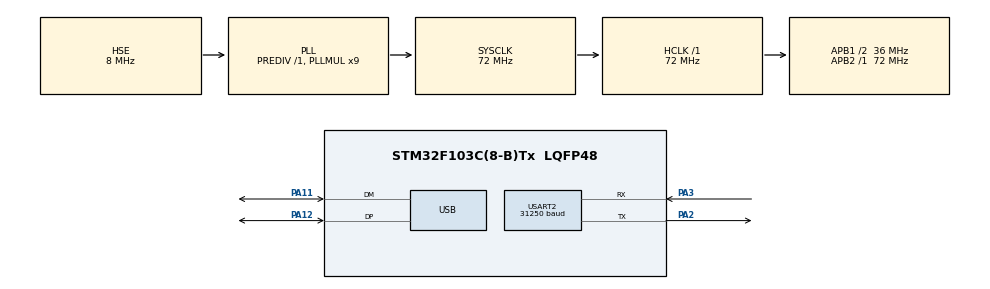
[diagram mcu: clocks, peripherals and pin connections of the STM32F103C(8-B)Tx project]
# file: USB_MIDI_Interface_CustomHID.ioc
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Dma.Request0=USART2_RX
Dma.Request1=USART2_TX
Dma.USART2_RX.0.Direction=DMA_PERIPH_TO_MEMORY
Dma.USART2_RX.0.Instance=DMA1_Channel6
Dma.USART2_RX.0.MemDataAlignment=DMA_MDATAALIGN_BYTE
Dma.USART2_RX.0.MemInc=DMA_MINC_ENABLE
Dma.USART2_RX.0.Mode=DMA_NORMAL
Dma.USART2_RX.0.PeriphDataAlignment=DMA_PDATAALIGN_BYTE
Dma.USART2_RX.0.PeriphInc=DMA_PINC_DISABLE
Dma.USART2_RX.0.Priority=DMA_PRIORITY_HIGH
Dma.USART2_TX.1.Direction=DMA_MEMORY_TO_PERIPH
Dma.USART2_TX.1.Instance=DMA1_Channel7
Dma.USART2_TX.1.MemDataAlignment=DMA_MDATAALIGN_BYTE
Dma.USART2_TX.1.MemInc=DMA_MINC_ENABLE
Dma.USART2_TX.1.Mode=DMA_NORMAL
Dma.USART2_TX.1.PeriphDataAlignment=DMA_PDATAALIGN_BYTE
Dma.USART2_TX.1.PeriphInc=DMA_PINC_DISABLE
Dma.USART2_TX.1.Priority=DMA_PRIORITY_HIGH
Mcu.Family=STM32F1
Mcu.Name=STM32F103C(8-B)Tx
Mcu.Package=LQFP48
NVIC.DMA1_Channel6_IRQn=true\:0\:0\:false\:false\:true\:false\:true\:true
NVIC.DMA1_Channel7_IRQn=true\:0\:0\:false\:false\:true\:false\:true\:true
NVIC.PriorityGroup=NVIC_PRIORITYGROUP_4
NVIC.USART2_IRQn=true\:0\:0\:false\:false\:true\:true\:true\:true
NVIC.USB_LP_CAN1_RX0_IRQn=true\:0\:0\:false\:false\:true\:false\:true\:true
PA11.Mode=Device
PA11.Signal=USB_DM
PA12.Mode=Device
PA12.Signal=USB_DP
PA13.Mode=Serial_Wire
PA13.Signal=SYS_JTMS-SWDIO
PA14.Mode=Serial_Wire
PA14.Signal=SYS_JTCK-SWCLK
PA2.Mode=Asynchronous
PA2.Signal=USART2_TX
PA3.Mode=Asynchronous
PA3.Signal=USART2_RX
PD0-OSC_IN.Mode=HSE-External-Oscillator
PD0-OSC_IN.Signal=RCC_OSC_IN
PD1-OSC_OUT.Mode=HSE-External-Oscillator
PD1-OSC_OUT.Signal=RCC_OSC_OUT
ProjectManager.HeapSize=0x200
ProjectManager.StackSize=0x400
ProjectManager.TargetToolchain=STM32CubeIDE
RCC.AHBFreq_Value=72000000
RCC.APB1CLKDivider=RCC_HCLK_DIV2
RCC.APB1Freq_Value=36000000
RCC.APB1TimFreq_Value=72000000
RCC.APB2Freq_Value=72000000
RCC.APB2TimFreq_Value=72000000
RCC.HCLKFreq_Value=72000000
RCC.PLLMUL=RCC_PLL_MUL9
RCC.SYSCLKFreq_VALUE=72000000
RCC.SYSCLKSource=RCC_SYSCLKSOURCE_PLLCLK
RCC.USBFreq_Value=48000000
RCC.USBPrescaler=RCC_USBCLKSOURCE_PLL_DIV1_5
USART2.BaudRate=31250
USART2.VirtualMode=VM_ASYNC
USB_DEVICE.CLASS_NAME_FS=CUSTOM_HID
USB_DEVICE.VirtualMode=CustomHid
USB_DEVICE.VirtualModeFS=Custom_Hid_FS
VP_USB_DEVICE_VS_USB_DEVICE_CUSTOM_HID_FS.Mode=CUSTOM_HID_FS
board=custom

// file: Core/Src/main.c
/* USER CODE BEGIN Header */
/**
  ******************************************************************************
  * @file           : main.c
  * @brief          : Main program body
  ******************************************************************************
  * @attention
  *
  * Copyright (c) 2024 STMicroelectronics.
  * All rights reserved.
  *
  * This software is licensed under terms that can be found in the LICENSE file
  * in the root directory of this software component.
  * If no LICENSE file comes with this software, it is provided AS-IS.
  *
  ******************************************************************************
  */
/* USER CODE END Header */
#include "main.h"
#include "usb_device.h"

/* USER CODE BEGIN Includes */
#include "usbd_customhid.h"
/* USER CODE END Includes */

UART_HandleTypeDef huart2;
DMA_HandleTypeDef hdma_usart2_rx;
DMA_HandleTypeDef hdma_usart2_tx;

/* USER CODE BEGIN PV */
// This is for the USB
extern USBD_HandleTypeDef hUsbDeviceFS;

// Buffer for data transfer from USB to UART
uint16_t tx_buffer_size=3;
uint8_t tx_buffer[3];

// Buffer to receive UART-Data
uint16_t uart_rx_buffer_size=1;
uint8_t uart_rx_buffer[1];

// Buffer for data transfer from UART to USB
uint16_t rx_buffer_size=4;
uint8_t rx_buffer[4];

// Variables to keep track of the current MIDI-command/status and the count of MIDI-msg. bytes
uint8_t tx_note_status=0;
uint8_t rx_note_status=0;
int rx_data_count=0;
/* USER CODE END PV */

void SystemClock_Config(void);
static void MX_GPIO_Init(void);
static void MX_DMA_Init(void);
static void MX_USART2_UART_Init(void);

int main(void)
{

  /* MCU Configuration--------------------------------------------------------*/

  /* Reset of all peripherals, Initializes the Flash interface and the Systick. */
  HAL_Init();

  /* Configure the system clock */
  SystemClock_Config();

  /* Initialize all configured peripherals */
  MX_GPIO_Init();
  MX_DMA_Init();
  MX_USART2_UART_Init();
  MX_USB_DEVICE_Init();
  /* USER CODE BEGIN 2 */
  // Disable the half-transfer Interrupt for Uart-Tx, this is generally useful for circular buffer, but we are not using that here
__HAL_DMA_DISABLE_IT(&hdma_usart2_tx, DMA_IT_HT);

//Enable the Interrupt, such that when the RX-buffer is filled or its idle for one-uart-frame-time, a callback-function is called
HAL_UARTEx_ReceiveToIdle_DMA(&huart2, uart_rx_buffer, uart_rx_buffer_size);
// Disable the half-transfer Interrupt for Uart-Rx, this is generally useful for circular buffer, but we are not using that here
__HAL_DMA_DISABLE_IT(&hdma_usart2_rx, DMA_IT_HT);
  /* USER CODE END 2 */

  /* Infinite loop */
  while (1)
  {
	  HAL_Delay(10);
  }
}

void SystemClock_Config(void)
{
  RCC_OscInitTypeDef RCC_OscInitStruct = {0};
  RCC_ClkInitTypeDef RCC_ClkInitStruct = {0};
  RCC_PeriphCLKInitTypeDef PeriphClkInit = {0};

  /** Initializes the RCC Oscillators according to the specified parameters
  * in the RCC_OscInitTypeDef structure.
  */
  RCC_OscInitStruct.OscillatorType = RCC_OSCILLATORTYPE_HSE;
  RCC_OscInitStruct.HSEState = RCC_HSE_ON;
  RCC_OscInitStruct.HSEPredivValue = RCC_HSE_PREDIV_DIV1;
  RCC_OscInitStruct.HSIState = RCC_HSI_ON;
  RCC_OscInitStruct.PLL.PLLState = RCC_PLL_ON;
  RCC_OscInitStruct.PLL.PLLSource = RCC_PLLSOURCE_HSE;
  RCC_OscInitStruct.PLL.PLLMUL = RCC_PLL_MUL9;
  if (HAL_RCC_OscConfig(&RCC_OscInitStruct) != HAL_OK)
  {
    Error_Handler();
  }

  /** Initializes the CPU, AHB and APB buses clocks
  */
  RCC_ClkInitStruct.ClockType = RCC_CLOCKTYPE_HCLK|RCC_CLOCKTYPE_SYSCLK
                              |RCC_CLOCKTYPE_PCLK1|RCC_CLOCKTYPE_PCLK2;
  RCC_ClkInitStruct.SYSCLKSource = RCC_SYSCLKSOURCE_PLLCLK;
  RCC_ClkInitStruct.AHBCLKDivider = RCC_SYSCLK_DIV1;
  RCC_ClkInitStruct.APB1CLKDivider = RCC_HCLK_DIV2;
  RCC_ClkInitStruct.APB2CLKDivider = RCC_HCLK_DIV1;

  if (HAL_RCC_ClockConfig(&RCC_ClkInitStruct, FLASH_LATENCY_2) != HAL_OK)
  {
    Error_Handler();
  }
  PeriphClkInit.PeriphClockSelection = RCC_PERIPHCLK_USB;
  PeriphClkInit.UsbClockSelection = RCC_USBCLKSOURCE_PLL_DIV1_5;
  if (HAL_RCCEx_PeriphCLKConfig(&PeriphClkInit) != HAL_OK)
  {
    Error_Handler();
  }
}

static void MX_USART2_UART_Init(void)
{

  huart2.Instance = USART2;
  huart2.Init.BaudRate = 31250;
  huart2.Init.WordLength = UART_WORDLENGTH_8B;
  huart2.Init.StopBits = UART_STOPBITS_1;
  huart2.Init.Parity = UART_PARITY_NONE;
  huart2.Init.Mode = UART_MODE_TX_RX;
  huart2.Init.HwFlowCtl = UART_HWCONTROL_NONE;
  huart2.Init.OverSampling = UART_OVERSAMPLING_16;
  if (HAL_UART_Init(&huart2) != HAL_OK)
  {
    Error_Handler();
  }

}

static void MX_DMA_Init(void)
{

  /* DMA controller clock enable */
  __HAL_RCC_DMA1_CLK_ENABLE();

  /* DMA interrupt init */
  /* DMA1_Channel6_IRQn interrupt configuration */
  HAL_NVIC_SetPriority(DMA1_Channel6_IRQn, 0, 0);
  HAL_NVIC_EnableIRQ(DMA1_Channel6_IRQn);
  /* DMA1_Channel7_IRQn interrupt configuration */
  HAL_NVIC_SetPriority(DMA1_Channel7_IRQn, 0, 0);
  HAL_NVIC_EnableIRQ(DMA1_Channel7_IRQn);

}

static void MX_GPIO_Init(void)
{

  /* GPIO Ports Clock Enable */
  __HAL_RCC_GPIOD_CLK_ENABLE();
  __HAL_RCC_GPIOA_CLK_ENABLE();

}

/* USER CODE BEGIN 4 */
// Callback function for the UART-DMA-Receive
void HAL_UARTEx_RxEventCallback(UART_HandleTypeDef *huart, uint16_t Size)
{
	// Here we are only considering the 3-byte midi messages such as Note-On/Note-Off, pitch-bend, control change, poly-pressure etc
	// And if the consecutive MIDI-msgs are of same type, say Note-ON, then after the first Not-On status byte, only the data-bytes are send,
	// The following if-else and the count takes care of such messages, by saving the status byte, and updating only if new status-byte is received
	// Note, all MIDI data-bytes are 7-bit, i.e., of range 0x00 to 0x7F, and all midi-status are >= 0x80.
	// USB MIDI Packet: <(CABLE-NUM-NIBBLE)(MIDI-STATUS-NIBBLE)> <(MIDI-STATUS-NIBBLE)(MIDI-CHANNEL-NIBBLE)> <DATA-BYTE-1> <DATA-BYTE-2>
	// Ex.: 0x90 0x90 0x40 0x7F --> Note-ON for Note-64, at velocity 127 on channel-0 and cable-0.
	if ((uart_rx_buffer[0] >= 0x80) && (rx_data_count == 0))
	{
		rx_note_status = uart_rx_buffer[0];
		rx_data_count += 1;
		rx_buffer[0]=((rx_note_status >> 4) & 0x0F);
		rx_buffer[1]=rx_note_status;
	}
	else if ((uart_rx_buffer[0] < 0x80) && (rx_data_count == 0))
	{
		rx_data_count += 2;
		rx_buffer[0]=((rx_note_status >> 4) & 0x0F);
		rx_buffer[1]=rx_note_status;
		rx_buffer[2]=uart_rx_buffer[0];
	}
	else if ((uart_rx_buffer[0] < 0x80) && (rx_data_count == 1))
	{
		rx_data_count += 1;
		rx_buffer[2]=uart_rx_buffer[0];
	}
	else if ((uart_rx_buffer[0] < 0x80) && (rx_data_count == 2))
	{
		rx_data_count = 0;
		rx_buffer[3]=uart_rx_buffer[0];
		// Send the MIDI-Message to Host-via USB
		USBD_CUSTOM_HID_SendReport(&hUsbDeviceFS, rx_buffer, rx_buffer_size);
	}

	// Enable the Interrupt again
	HAL_UARTEx_ReceiveToIdle_DMA(&huart2, uart_rx_buffer, uart_rx_buffer_size);
	// Disable the half-transfer Interrupt, again
	__HAL_DMA_DISABLE_IT(&hdma_usart2_rx, DMA_IT_HT);
}

// Callback function for the UART-DMA-Transmit
void HAL_UART_TxCpltCallback(UART_HandleTypeDef *huart)
{
	// Disable the half-transfer Interrupt for Uart-Tx
	__HAL_DMA_DISABLE_IT(&hdma_usart2_tx, DMA_IT_HT);
}
/* USER CODE END 4 */

void Error_Handler(void)
{
  __disable_irq();
  while (1)
  {
  }
}
